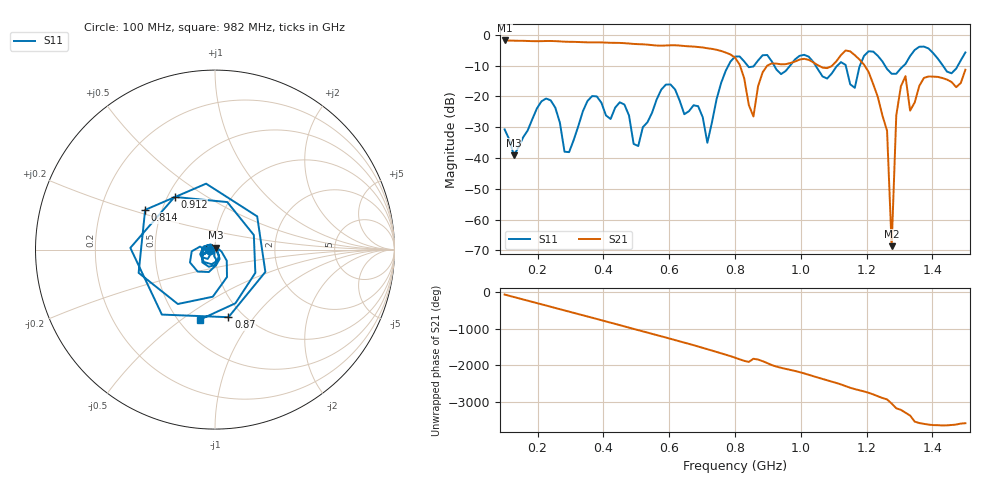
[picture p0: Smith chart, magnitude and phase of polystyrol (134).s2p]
! NanoVNA-App
! Date: 2025-09-25 15:30:56
! Start: 100MHz Stop: 1,5GHz Points: 101
! S-Parameter data: F S11 S21 S12 S22
# Hz S RI R 50
!  Frequency  S11_Real  S11_Imag  S21_Real  S21_Imag  S12_Real  S12_Imag  S22_Real  S22_Imag
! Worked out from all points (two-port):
!   101 points, 100 MHz to 1.5 GHz, reference 50 ohm
!   highest |S21| = -1.80 dB at 100 MHz (marker M1); lowest = -68.6 dB at 1.276 GHz (marker M2)
!   |S21| within 3 dB of the highest: start of sweep to 742.7 MHz
!   lowest |S11| = -39.1 dB at 128 MHz (marker M3), VSWR 1.02, Z = 50.3 + j1.07 ohm
!   |S11| at or under -10 dB: start of sweep to 779.7 MHz; 1.045 GHz to 1.111 GHz (65.81 MHz wide, 6.11 % of centre); 1.256 GHz to 1.312 GHz (56.55 MHz wide, 4.4 % of centre) (the widest 3 of 7)
!   S12 and S22 are empty: the file has one direction only
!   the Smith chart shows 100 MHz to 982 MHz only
!   S11 on the Smith chart (normalised r, x): 100 MHz: 0.94, -0.01; 814 MHz: 0.40, +0.22; 870 MHz: 0.85, -0.76; 912 MHz: 0.54, +0.37; 982 MHz: 0.63, -0.59
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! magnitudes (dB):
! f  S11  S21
! 100 MHz  -30.7  -1.8
! 128 MHz  -39.1  -1.9
! 212 MHz  -21.6  -2.0
! 282 MHz  -37.9  -2.2
! 338 MHz  -24.7  -2.4
! 506 MHz  -36.1  -3.0
! 576 MHz  -17.8  -3.5
! 716 MHz  -35.0  -4.3
! 800 MHz  -7.0  -7.4
! 814 MHz  -7.0  -9.6
! 856 MHz  -10.3  -26.5
! 870 MHz  -8.3  -16.7
! 912 MHz  -8.6  -9.2
! 982 MHz  -8.0  -8.7
! 1.038 GHz  -8.8  -8.9
! 1.164 GHz  -17.2  -6.6
! 1.206 GHz  -5.3  -12.1
! 1.262 GHz  -11.1  -31.1
! 1.276 GHz  -12.6  -68.6
! 1.29 GHz  -12.6  -26.1
! 1.304 GHz  -10.8  -16.7
! 1.5 GHz  -5.7  -11.3
